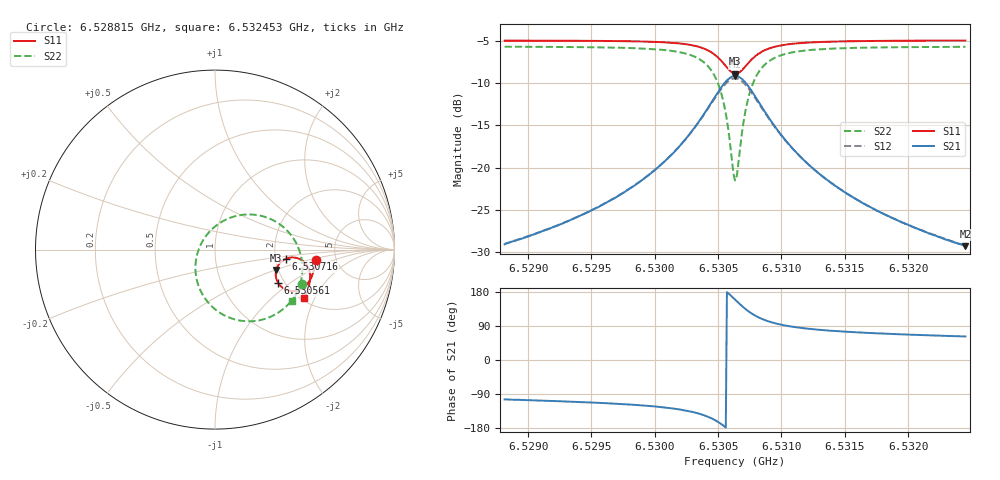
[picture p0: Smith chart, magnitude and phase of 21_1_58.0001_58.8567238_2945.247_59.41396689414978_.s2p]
#  HZ  S  RI  R  50.00
! Rohde & Schwarz Vector Network Analyzer
! Rohde-Schwarz,ZNB20-2Port,1311601062101988,3.16
! Created: UTC 3/21/2024, 12:51:11 AM
! freq[Hz]  re:S11  im:S11  re:S21  im:S21  re:S12  im:S12  re:S22  im:S22
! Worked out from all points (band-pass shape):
!   401 points, 6.528815 GHz to 6.532453 GHz, reference 50 ohm
!   highest |S21| = -9.16 dB at 6.530634 GHz (marker M1); lowest = -29.3 dB at 6.532453 GHz (marker M2)
!   |S21| within 3 dB of the highest: 6.530454 GHz to 6.530818 GHz (364.1 kHz wide, 0.00558 % of centre)
!   lowest |S11| = -8.9 dB at 6.530634 GHz (marker M3), VSWR 2.12, Z = 97.3 - j25.5 ohm
!   |S11| at or under -10 dB: nowhere
!   |S22| runs from -21.5 to -5.7 dB; largest |S21 - S12| = 0.015
!   S11 on the Smith chart (normalised r, x): 6.528815 GHz: 3.47, -0.60; 6.530561 GHz: 1.85, -0.82; 6.530716 GHz: 2.28, -0.28; 6.532453 GHz: 2.09, -1.66
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6.5288152e9  0.5608 -0.059  -0.00857 -0.0341  -0.00928 -0.0341  0.4822 -0.1921
6.5294245e9  0.5514 -0.1121  -0.0188 -0.0488  -0.0201 -0.0485  0.4494 -0.2538
6.5297519e9  0.5411 -0.1446  -0.0316 -0.0633  -0.0333 -0.0627  0.4162 -0.2971
6.5300338e9  0.5238 -0.1786  -0.0563 -0.0843  -0.0587 -0.0828  0.3605 -0.3458
6.5302521e9  0.4935 -0.2109  -0.1037 -0.1083  -0.1071 -0.1045  0.265 -0.3896
6.5304067e9  0.4434 -0.2305  -0.1841 -0.1154  -0.1867 -0.1072  0.1179 -0.391
6.5304976e9  0.3916 -0.2215  -0.2655 -0.0819  -0.2639 -0.0698  -0.0168 -0.3173
6.530534e9  0.368 -0.2056  -0.3006 -0.0472  -0.2955 -0.0347  -0.0688 -0.2514
6.5305613e9  0.3525 -0.1867  -0.3225 -0.0102  -0.3141 0.00174  -0.0974 -0.1848
6.5306159e9  0.3382 -0.1337  -0.3354 0.0871  -0.3221 0.0938  -0.0983 -0.0222
6.530634e9  0.3409 -0.114  -0.3267 0.1213  -0.313 0.1254  -0.0776 0.0319
6.5306522e9  0.3478 -0.0955  -0.3114 0.1532  -0.2978 0.1549  -0.0464 0.0814
6.5307159e9  0.3937 -0.0516  -0.2248 0.2266  -0.2156 0.2224  0.1095 0.1853
6.5307523e9  0.4239 -0.0439  -0.1712 0.2386  -0.165 0.2339  0.2007 0.1957
6.5307887e9  0.4505 -0.0455  -0.1254 0.2357  -0.1212 0.2316  0.2774 0.1824
6.5308432e9  0.4804 -0.0569  -0.0744 0.2175  -0.0721 0.2144  0.3608 0.1412
6.5309069e9  0.5026 -0.0752  -0.0374 0.1906  -0.0358 0.1886  0.4198 0.0857
6.5310433e9  0.5238 -0.1113  -0.000756 0.142  0.000499 0.1413  0.4727 -0.0127
6.5312434e9  0.5305 -0.1497  0.0148 0.0987  0.0159 0.0983  0.4869 -0.1029
6.5315071e9  0.5274 -0.185  0.0186 0.0685  0.0197 0.0682  0.4795 -0.1715
6.5318527e9  0.518 -0.2199  0.0183 0.0479  0.0191 0.0476  0.4625 -0.2265
6.5324529e9  0.4975 -0.2688  0.016 0.0303  0.0168 0.0302  0.4312 -0.2878
